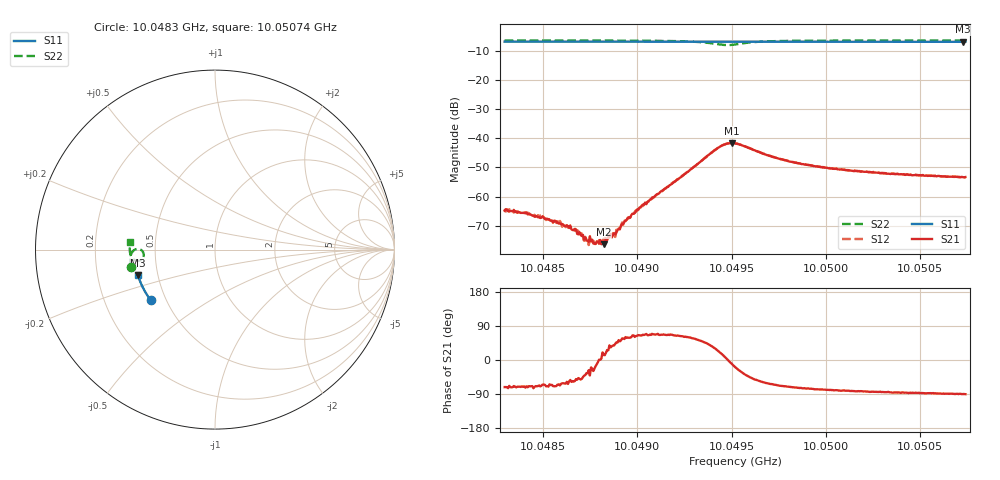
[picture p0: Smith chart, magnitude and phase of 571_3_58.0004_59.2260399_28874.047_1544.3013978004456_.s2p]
#  HZ  S  RI  R  50.00
! Rohde & Schwarz Vector Network Analyzer
! Rohde-Schwarz,ZNB20-2Port,1311601062101988,3.16
! Created: UTC 3/21/2024, 1:15:56 AM
! freq[Hz]  re:S11  im:S11  re:S21  im:S21  re:S12  im:S12  re:S22  im:S22
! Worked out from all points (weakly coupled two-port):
!   401 points, 10.0483 GHz to 10.05074 GHz, reference 50 ohm
!   highest |S21| = -41.66 dB at 10.0495 GHz (marker M1); lowest = -76.4 dB at 10.04882 GHz (marker M2)
!   lowest |S11| = -6.9 dB at 10.05073 GHz (marker M3), VSWR 2.65, Z = 19.3 - j6.83 ohm
!   |S11| at or under -10 dB: nowhere
!   |S22| runs from -8.0 to -6.4 dB; largest |S21 - S12| = 0.00063
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1.0048298e10  -0.3587 -0.2823  0.000182 -0.000544  0.000258 -0.000564  -0.4671 -0.0992
1.0048487e10  -0.366 -0.2722  0.000149 -0.000403  0.000193 -0.00043  -0.4689 -0.0857
1.0048634e10  -0.3714 -0.2642  0.000141 -0.00028  0.000137 -0.000261  -0.4703 -0.0747
1.004867e10  -0.3727 -0.2621  0.00016 -0.00023  0.000162 -0.000204  -0.4704 -0.072
1.0048707e10  -0.3741 -0.2602  0.000136 -0.000161  0.000187 -0.000135  -0.4708 -0.0691
1.0048731e10  -0.3751 -0.2588  0.00015 -0.000104  0.000143 -0.000112  -0.471 -0.067
1.004875e10  -0.3757 -0.2579  0.000158 -0.000137  0.000148 -9.22e-05  -0.4712 -0.0656
1.004878e10  -0.3767 -0.2561  0.000148 -4.33e-05  0.00015 -4.62e-05  -0.4711 -0.063
1.0048823e10  -0.3782 -0.2538  0.000148 3.44e-05  0.000187 4.4e-05  -0.4713 -0.0596
1.0048847e10  -0.3791 -0.2525  0.000182 8.68e-05  0.000177 0.000125  -0.4712 -0.0575
1.0048878e10  -0.3801 -0.2505  0.000186 0.000146  0.000147 0.000186  -0.4713 -0.0548
1.0048945e10  -0.3823 -0.2469  0.000209 0.00034  0.000189 0.000358  -0.4713 -0.0486
1.0049012e10  -0.3848 -0.2431  0.000271 0.00059  0.000236 0.000588  -0.4706 -0.0422
1.0049116e10  -0.3882 -0.2371  0.000459 0.00104  0.000385 0.00108  -0.4688 -0.0311
1.0049421e10  -0.3971 -0.2193  0.00587 0.00302  0.00568 0.00338  -0.4148 -8.12e-05
1.00495e10  -0.3993 -0.2151  0.00814 -0.0014  0.00828 -0.000836  -0.3987 -0.0404
1.0049518e10  -0.3997 -0.214  0.00778 -0.00259  0.00796 -0.00204  -0.4038 -0.0499
1.0049726e10  -0.4064 -0.2022  0.00199 -0.00429  0.00227 -0.00419  -0.4627 -0.0455
1.0049927e10  -0.4118 -0.1901  0.000817 -0.00329  0.000991 -0.00328  -0.4726 -0.0211
1.0050336e10  -0.4219 -0.1651  0.000207 -0.00246  0.000321 -0.00247  -0.4754 0.0144
1.0050727e10  -0.4298 -0.1409  7.15e-06 -0.00215  0.000122 -0.00216  -0.474 0.0431
1.0050739e10  -0.4301 -0.1402  -6.75e-06 -0.00217  0.000113 -0.00215  -0.4738 0.0439
